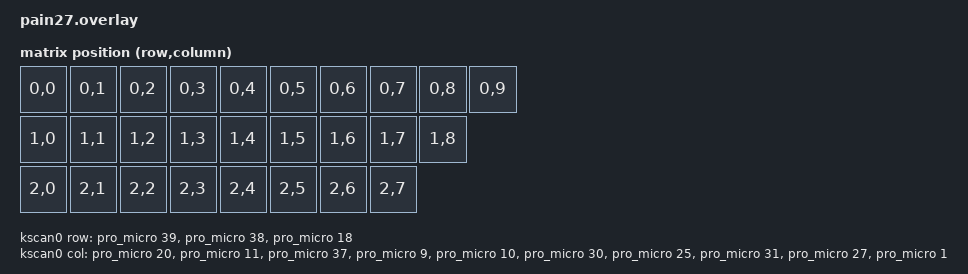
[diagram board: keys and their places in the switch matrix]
#include <dt-bindings/zmk/matrix_transform.h>

&spi1 {
	compatible = "nordic,nrf-spim";
	status = "okay";
	mosi-pin = <16>;
	// Unused pins, needed for SPI definition, but not used by the ws2812 driver itself.
	sck-pin = <5>;
	miso-pin = <7>;

	led_strip: ws2812@0 {
		compatible = "worldsemi,ws2812-spi";
		label = "WS2812";

		/* SPI */
		reg = <0>; /* ignored, but necessary for SPI bindings */
		spi-max-frequency = <4000000>;

		/* WS2812 */
		chain-length = <9>; /* arbitrary; change at will */
		spi-one-frame = <0x70>;
		spi-zero-frame = <0x40>;
	};
};

/ {
    chosen {
        zmk,kscan = &kscan0;
        zmk,matrix_transform = &default_transform;
    };

    kscan0: kscan_0 {
        compatible = "zmk,kscan-gpio-matrix";
        label = "KSCAN";
        diode-direction = "col2row";

        col-gpios
            = <&pro_micro 20 GPIO_ACTIVE_HIGH>
            , <&pro_micro 11 GPIO_ACTIVE_HIGH>
            , <&pro_micro 37 GPIO_ACTIVE_HIGH>
            , <&pro_micro 9 GPIO_ACTIVE_HIGH>
			, <&pro_micro 10 GPIO_ACTIVE_HIGH>
			, <&pro_micro 30 GPIO_ACTIVE_HIGH>
			, <&pro_micro 25 GPIO_ACTIVE_HIGH>
			, <&pro_micro 31 GPIO_ACTIVE_HIGH>
			, <&pro_micro 27 GPIO_ACTIVE_HIGH>
			, <&pro_micro 1 GPIO_ACTIVE_HIGH>
            ;

        row-gpios
            = <&pro_micro 39 (GPIO_ACTIVE_HIGH | GPIO_PULL_DOWN)>
            , <&pro_micro 38 (GPIO_ACTIVE_HIGH | GPIO_PULL_DOWN)>
            , <&pro_micro 18 (GPIO_ACTIVE_HIGH | GPIO_PULL_DOWN)>
            ;
    };

	default_transform: keymap_transform_0 {
		compatible = "zmk,matrix-transform";
		columns = <10>;
		rows = <3>;
    map = <
	RC(0,0) RC(0,1) RC(0,2) RC(0,3) RC(0,4) RC(0,5) RC(0,6) RC(0,7) RC(0,8) RC(0,9)
    	RC(1,0) RC(1,1) RC(1,2) RC(1,3) RC(1,4) RC(1,5) RC(1,6) RC(1,7) RC(1,8) 
	RC(2,0) RC(2,1) RC(2,2) RC(2,3) RC(2,4) RC(2,5) RC(2,6) RC(2,7)

    
        >;
    };
};
